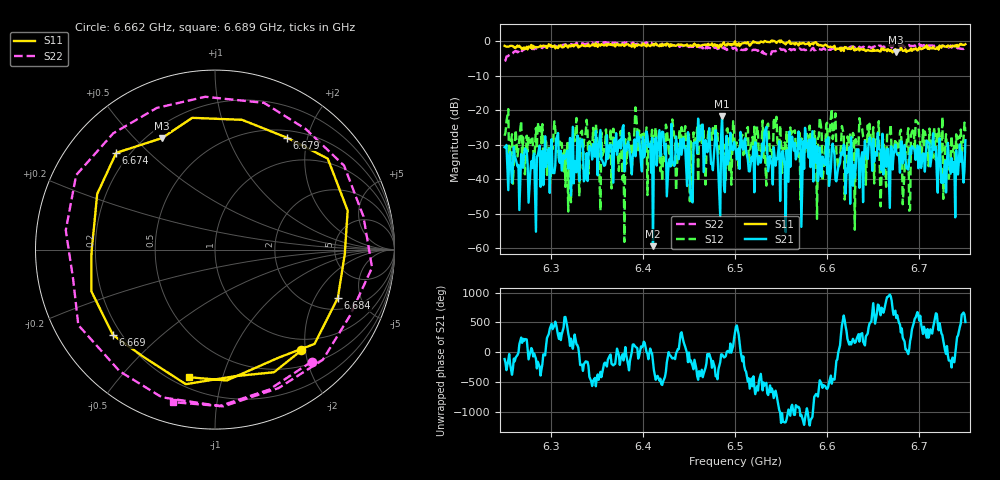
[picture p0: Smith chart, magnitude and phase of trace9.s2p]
# Hz S RI R 50
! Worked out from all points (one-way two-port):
!   401 points, 6.25 GHz to 6.75 GHz, reference 50 ohm
!   highest |S21| = -21.64 dB at 6.486 GHz (marker M1); lowest = -59.4 dB at 6.411 GHz (marker M2)
!   lowest |S11| = -3.2 dB at 6.675 GHz (marker M3), VSWR 5.41, Z = 12.8 + j30.1 ohm
!   |S11| at or under -10 dB: nowhere
!   |S22| runs from -5.7 to -0.1 dB; largest |S21 - S12| = 0.12
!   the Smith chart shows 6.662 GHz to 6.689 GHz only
!   S11 on the Smith chart (normalised r, x): 6.662 GHz: 0.78, -1.92; 6.669 GHz: 0.17, -0.35; 6.674 GHz: 0.15, +0.40; 6.679 GHz: 0.60, +1.67; 6.684 GHz: 2.67, -3.13; 6.689 GHz: 0.26, -0.78
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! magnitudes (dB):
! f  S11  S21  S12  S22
! 6.25 GHz  -1.3  -30.7  -27.4  -5.7
! 6.334 GHz  -1.1  -28.4  -25.9  -0.7
! 6.37 GHz  -1.5  -31.7  -30.3  -0.4
! 6.38 GHz  -1.4  -37.7  -58.1  -0.3
! 6.391 GHz  -1.8  -28.5  -25.3  -0.9
! 6.411 GHz  -0.9  -59.4  -29.3  -0.8
! 6.418 GHz  -1.5  -25.8  -32.5  -1.1
! 6.454 GHz  -1.5  -46.7  -46.3  -1.6
! 6.462 GHz  -1.3  -28.6  -24.4  -1.7
! 6.486 GHz  -1.0  -21.6  -34.8  -2.2
! 6.5 GHz  0.0  -30.5  -31.4  -1.9
! 6.584 GHz  -0.6  -26.1  -33.8  -2.1
! 6.662 GHz  -2.6  -31.1  -31.6  -1.7
! 6.668 GHz  -2.9  -48.3  -27.0  -1.3
! 6.669 GHz  -2.6  -30.6  -24.1  -1.2
! 6.674 GHz  -2.3  -29.9  -28.2  -1.3
! 6.675 GHz  -3.2  -32.0  -31.5  -1.4
! 6.679 GHz  -2.6  -38.1  -26.4  -1.5
! 6.684 GHz  -2.7  -30.1  -37.9  -1.5
! 6.689 GHz  -2.8  -34.9  -49.1  -1.1
! 6.696 GHz  -2.1  -34.4  -22.9  -1.3
! 6.75 GHz  -0.9  -28.7  -26.1  -2.2
